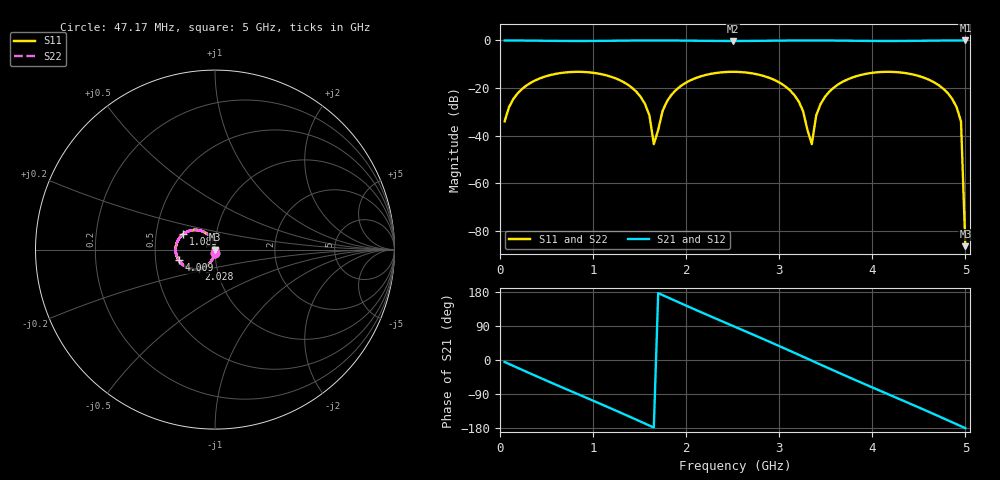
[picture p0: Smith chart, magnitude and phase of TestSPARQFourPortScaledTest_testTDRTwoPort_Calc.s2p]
# MHz MA S R 50.0
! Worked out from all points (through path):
!   106 points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, 47.17 MHz to 5 GHz, reference 50 ohm
!   highest |S21| = 0.00 dB at 5 GHz (marker M1); lowest = -0.2 dB at 2.5 GHz (marker M2)
!   group delay of S21, straight-line fit = 300 ps
!   lowest |S11| = -86.4 dB at 5 GHz (marker M3), VSWR 1.00, Z = 50 - j5.88e-19 ohm
!   |S11| at or under -10 dB: start of sweep to end of sweep
!   |S22| runs from -96.5 to -13.2 dB; largest |S21 - S12| = 9.1e-05
!   S11 on the Smith chart (normalised r, x): 47.17 MHz: 1.00, -0.04; 1.085 GHz: 0.69, +0.13; 2.028 GHz: 0.82, -0.18; 4.009 GHz: 0.66, -0.08; 5 GHz: 1.00, -0.00
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47.16981  0.01998 -95.3  0.9998 -5.2  0.9998 -5.2  0.01998 -95.2
330.1887  0.1301 -126.3  0.9915 -36.3  0.9914 -36.3  0.1301 -126.3
896.2264  0.2181 173.4  0.9759 -96.6  0.9759 -96.6  0.218 173.4
1084.906  0.1963 153.4  0.9805 -116.6  0.9805 -116.6  0.1963 153.4
1509.434  0.06554 107.4  0.9979 -162.6  0.9978 -162.6  0.06557 107.4
1603.774  0.02658 96.9  0.9996 -173.0  0.9996 -173.0  0.02659 96.9
1650.943  0.006653 91.5  1 -178.3  0.9999 -178.3  0.00665 91.7
1698.113  0.01332 -93.3  0.9999 176.5  0.9999 176.5  0.01334 -93.5
1792.453  0.05273 -103.9  0.9986 166.1  0.9986 166.1  0.05279 -103.9
2028.302  0.1405 -129.8  0.99 140.3  0.9901 140.3  0.1403 -129.7
2500  0.2195 180.0  0.9756 90.0  0.9756 90.0  0.2195 -180.0
2547.17  0.2187 175.0  0.9758 85.0  0.9758 85.0  0.2187 175.0
3113.208  0.09031 114.3  0.9959 24.3  0.9959 24.3  0.09033 114.3
3349.057  0.006653 -91.5  1 -1.7  0.9999 -1.7  0.00665 -91.7
3396.226  0.02658 -96.9  0.9996 -7.0  0.9996 -7.0  0.02659 -96.9
3584.906  0.1022 -117.8  0.9948 -27.7  0.9948 -27.8  0.1022 -117.7
4009.434  0.2104 -163.4  0.9776 -73.4  0.9776 -73.4  0.2104 -163.4
4198.113  0.2191 176.7  0.9757 -93.3  0.9757 -93.3  0.2191 176.7
4669.811  0.1301 126.3  0.9915 -143.7  0.9914 -143.7  0.1301 126.3
4905.66  0.03978 100.5  0.9992 -169.6  0.9992 -169.6  0.03978 100.4
4952.83  0.01998 95.3  0.9998 -174.8  0.9998 -174.8  0.01998 95.2
5000  4.8e-05 -180.0  1 -180.0  1 -180.0  1.5e-05 0.0
